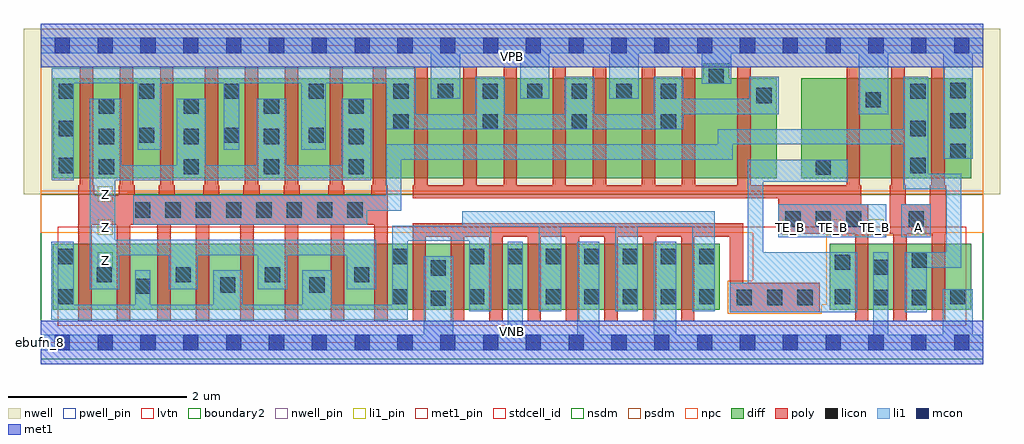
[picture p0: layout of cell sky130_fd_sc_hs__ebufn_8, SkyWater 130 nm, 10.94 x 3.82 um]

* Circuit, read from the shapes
.subckt sky130_fd_sc_hs__ebufn_8 A TE_B VGND VNB VPB VPWR Z
XM1 Z n1 n2 VNB sky130_fd_pr__nfet_01v8_lvt w=0.74 l=0.15 m=8
XM2 VGND n3 n2 VNB sky130_fd_pr__nfet_01v8_lvt w=0.74 l=0.15 m=8
XM3 VGND TE_B n3 VNB sky130_fd_pr__nfet_01v8_lvt w=0.74 l=0.15
XM4 n1 A VGND VNB sky130_fd_pr__nfet_01v8_lvt w=0.74 l=0.15 m=2
XM5 Z n1 n4 VPB sky130_fd_pr__pfet_01v8 w=1.12 l=0.15 m=8
XM6 VPWR TE_B n4 VPB sky130_fd_pr__pfet_01v8 w=1.12 l=0.15 m=8
XM7 VPWR TE_B n3 VPB sky130_fd_pr__pfet_01v8 w=1.12 l=0.15
XM8 n1 A VPWR VPB sky130_fd_pr__pfet_01v8 w=1.12 l=0.15 m=2
.ends

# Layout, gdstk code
import gdstk
lib = gdstk.Library(unit=1e-6, precision=1e-09)
def R(c, l, rs):  # rectangles x0, y0, x1, y1
    for r in rs: c.add(gdstk.rectangle(r[:2], r[2:], *l))
def A(c, l, x, y, w, h, nx, ny, dx, dy):  # array of equal rectangles
    R(c, l, [(x+i*dx, y+j*dy, x+i*dx+w, y+j*dy+h) for i in range(nx) for j in range(ny)])
def P(c, l, *ps):  # polygons
    for p in ps: c.add(gdstk.Polygon(p, *l))
nwell_pin = (64, 16)
nwell = (64, 20)
diff = (65, 20)
poly = (66, 20)
licon = (66, 44)
li1_pin = (67, 16)
li1 = (67, 20)
mcon = (67, 44)
met1_pin = (68, 16)
met1 = (68, 20)
stdcell_id = (81, 4)
nsdm = (93, 44)
psdm = (94, 20)
npc = (95, 20)
pwell_pin = (122, 16)
lvtn = (125, 44)
boundary2 = (236, 0)

sky130_fd_sc_hs__ebufn_8 = lib.new_cell('sky130_fd_sc_hs__ebufn_8')
R(sky130_fd_sc_hs__ebufn_8, nwell_pin, [(0,3.085,10.56,3.33)])
R(sky130_fd_sc_hs__ebufn_8, nwell, [(-0.19,1.66,10.75,3.52)])
R(sky130_fd_sc_hs__ebufn_8, diff, [(0.135,0.37,7.61,1.11), (8.84,0.37,10.425,1.11), (8.52,1.84,10.425,2.96)])
P(sky130_fd_sc_hs__ebufn_8, diff, [(8.25,2.96),(7.715,2.96),(7.715,3.13),(7.425,3.13),(7.425,2.96),(0.14,2.96),(0.14,1.84),(8.25,1.84)])
P(sky130_fd_sc_hs__ebufn_8, poly, [(10.145,1.765),(10.13,1.765),(10.13,3.09),(9.98,3.09),(9.98,1.765),(9.965,1.765),(9.965,1.55),(9.695,1.55),(9.695,1.765),(9.68,1.765),(9.68,3.09),(9.53,3.09),(9.53,1.765),(9.515,1.765),(9.515,1.22),(9.555,1.22),(9.555,0.24),(9.705,0.24),(9.705,1.22),(9.985,1.22),(9.985,0.24),(10.135,0.24),(10.135,1.22),(10.145,1.22)],
  [(9.275,1.55),(9.195,1.55),(9.195,1.765),(9.18,1.765),(9.18,3.09),(9.03,3.09),(9.03,1.765),(7.955,1.765),(7.955,3.09),(7.805,3.09),(7.805,1.765),(7.335,1.765),(7.335,3.09),(7.185,3.09),(7.185,1.765),(6.885,1.765),(6.885,3.09),(6.735,3.09),(6.735,1.765),(6.335,1.765),(6.335,3.09),(6.185,3.09),(6.185,1.765),(5.885,1.765),(5.885,3.09),(5.735,3.09),(5.735,1.765),(5.335,1.765),(5.335,3.09),(5.185,3.09),(5.185,1.765),(4.885,1.765),(4.885,3.09),(4.735,3.09),(4.735,1.765),(4.335,1.765),(4.335,3.09),(4.185,3.09),(4.185,1.765),(4.17,1.765),(4.17,1.615),(8.265,1.615),(8.265,1.22),(9.125,1.22),(9.125,0.24),(9.275,0.24)],
  [(8.73,0.67),(7.87,0.67),(7.87,1.335),(4.165,1.335),(4.165,0.24),(4.315,0.24),(4.315,1.185),(4.595,1.185),(4.595,0.24),(4.745,0.24),(4.745,1.185),(5.025,1.185),(5.025,0.24),(5.175,0.24),(5.175,1.185),(5.455,1.185),(5.455,0.24),(5.605,0.24),(5.605,1.185),(5.885,1.185),(5.885,0.24),(6.035,0.24),(6.035,1.185),(6.315,1.185),(6.315,0.24),(6.465,0.24),(6.465,1.185),(6.745,1.185),(6.745,0.24),(6.895,0.24),(6.895,1.185),(7.175,1.185),(7.175,0.24),(7.325,0.24),(7.325,1.185),(7.72,1.185),(7.72,0.34),(8.73,0.34)],
  [(3.885,1.765),(3.87,1.765),(3.87,3.09),(3.72,3.09),(3.72,1.765),(3.705,1.765),(3.705,1.65),(3.4,1.65),(3.4,1.765),(3.385,1.765),(3.385,3.09),(3.235,3.09),(3.235,1.765),(3.22,1.765),(3.22,1.65),(2.9,1.65),(2.9,1.765),(2.885,1.765),(2.885,3.09),(2.735,3.09),(2.735,1.765),(2.72,1.765),(2.72,1.65),(2.45,1.65),(2.45,1.765),(2.435,1.765),(2.435,3.09),(2.285,3.09),(2.285,1.765),(2.27,1.765),(2.27,1.65),(2,1.65),(2,1.765),(1.985,1.765),(1.985,3.09),(1.835,3.09),(1.835,1.765),(1.82,1.765),(1.82,1.65),(1.5,1.65),(1.5,1.765),(1.485,1.765),(1.485,3.09),(1.335,3.09),(1.335,1.765),(1.32,1.765),(1.32,1.65),(1.05,1.65),(1.05,1.765),(1.035,1.765),(1.035,3.09),(0.885,3.09),(0.885,1.765),(0.87,1.765),(0.87,1.65),(0.6,1.65),(0.6,1.765),(0.585,1.765),(0.585,3.09),(0.435,3.09),(0.435,1.765),(0.42,1.765),(0.42,0.24),(0.57,0.24),(0.57,1.32),(0.85,1.32),(0.85,0.24),(1,0.24),(1,1.32),(1.305,1.32),(1.305,0.24),(1.455,0.24),(1.455,1.32),(1.735,1.32),(1.735,0.24),(1.885,0.24),(1.885,1.32),(2.235,1.32),(2.235,0.24),(2.385,0.24),(2.385,1.32),(2.735,1.32),(2.735,0.24),(2.885,0.24),(2.885,1.32),(3.25,1.32),(3.25,0.24),(3.4,0.24),(3.4,1.32),(3.735,1.32),(3.735,0.24),(3.885,0.24)])
A(sky130_fd_sc_hs__ebufn_8, licon, 7.8, 0.42, 0.17, 0.17, 3, 1, 0.34, 0)
A(sky130_fd_sc_hs__ebufn_8, licon, 4.8, 0.43, 0.17, 0.17, 7, 2, 0.43, 0.45)
A(sky130_fd_sc_hs__ebufn_8, licon, 1.51, 0.675, 0.17, 0.17, 3, 1, 1, 0)
A(sky130_fd_sc_hs__ebufn_8, licon, 8.345, 1.3, 0.17, 0.17, 3, 1, 0.34, 0)
A(sky130_fd_sc_hs__ebufn_8, licon, 1.055, 1.4, 0.17, 0.17, 8, 1, 0.34, 0)
A(sky130_fd_sc_hs__ebufn_8, licon, 0.65, 1.885, 0.17, 0.17, 1, 3, 0, 0.34)
A(sky130_fd_sc_hs__ebufn_8, licon, 1.6, 1.885, 0.17, 0.17, 1, 3, 0, 0.34)
A(sky130_fd_sc_hs__ebufn_8, licon, 2.5, 1.885, 0.17, 0.17, 1, 3, 0, 0.34)
A(sky130_fd_sc_hs__ebufn_8, licon, 3.45, 1.885, 0.17, 0.17, 1, 3, 0, 0.34)
A(sky130_fd_sc_hs__ebufn_8, licon, 0.2, 1.9, 0.17, 0.17, 1, 3, 0, 0.415)
A(sky130_fd_sc_hs__ebufn_8, licon, 9.745, 1.9, 0.17, 0.17, 1, 3, 0, 0.415)
A(sky130_fd_sc_hs__ebufn_8, licon, 10.195, 2.06, 0.17, 0.17, 1, 3, 0, 0.34)
A(sky130_fd_sc_hs__ebufn_8, licon, 1.1, 2.24, 0.17, 0.17, 3, 1, 0.95, 0)
A(sky130_fd_sc_hs__ebufn_8, licon, 3.95, 2.39, 0.17, 0.17, 4, 1, 1, 0)
A(sky130_fd_sc_hs__ebufn_8, licon, 1.1, 2.73, 0.17, 0.17, 4, 1, 0.95, 0)
A(sky130_fd_sc_hs__ebufn_8, licon, 4.45, 2.73, 0.17, 0.17, 6, 1, 0.5, 0)
R(sky130_fd_sc_hs__ebufn_8, licon, [(4.37,0.41,4.54,0.58), (9.33,0.42,9.5,0.59), (9.76,0.42,9.93,0.59), (0.195,0.43,0.365,0.6), (3.94,0.43,4.11,0.6), (8.9,0.43,9.07,0.6), (10.19,0.43,10.36,0.6), (1.055,0.545,1.225,0.715), (2.01,0.56,2.18,0.73), (3.01,0.56,3.18,0.73), (0.625,0.675,0.795,0.845), (4.37,0.75,4.54,0.92), (9.33,0.76,9.5,0.93), (8.9,0.815,9.07,0.985), (9.76,0.84,9.93,1.01), (0.195,0.88,0.365,1.05), (3.94,0.88,4.11,1.05), (9.725,1.3,9.895,1.47), (8.685,1.88,8.855,2.05), (9.245,2.635,9.415,2.805), (8.02,2.685,8.19,2.855), (7.485,2.9,7.655,3.07)])
A(sky130_fd_sc_hs__ebufn_8, li1_pin, 0.635, 0.84, 0.17, 0.17, 1, 3, 0, 0.37)
A(sky130_fd_sc_hs__ebufn_8, li1_pin, 8.315, 1.21, 0.17, 0.17, 4, 1, 0.48, 0)
R(sky130_fd_sc_hs__ebufn_8, li1, [(8.265,1.18,9.475,1.55), (9.645,1.18,9.975,1.55)])
P(sky130_fd_sc_hs__ebufn_8, li1, [(0,-0.085),(0,0.085),(4.29,0.085),(4.29,0.97),(4.62,0.97),(4.62,0.085),(5.23,0.085),(5.23,1.13),(5.4,1.13),(5.4,0.085),(6.01,0.085),(6.01,1.13),(6.26,1.13),(6.26,0.085),(6.87,0.085),(6.87,1.13),(7.12,1.13),(7.12,0.085),(9.33,0.085),(9.33,1.01),(9.5,1.01),(9.5,0.085),(10.11,0.085),(10.11,0.6),(10.445,0.6),(10.445,0.085),(10.56,0.085),(10.56,-0.085)],
  [(0,3.245),(0,3.415),(10.56,3.415),(10.56,3.245),(10.445,3.245),(10.445,2.06),(10.115,2.06),(10.115,3.245),(9.495,3.245),(9.495,2.56),(9.165,2.56),(9.165,3.245),(7.735,3.245),(7.735,2.9),(7.405,2.9),(7.405,3.245),(6.7,3.245),(6.7,2.73),(6.37,2.73),(6.37,3.245),(5.7,3.245),(5.7,2.73),(5.37,2.73),(5.37,3.245),(4.7,3.245),(4.7,2.73),(4.37,2.73),(4.37,3.245)],
  [(7.925,2.05),(9.045,2.05),(9.045,1.8),(8.095,1.8),(8.095,1.01),(9.15,1.01),(9.15,0.34),(7.72,0.34),(7.72,0.67),(7.925,0.67)],
  [(10.315,0.84),(9.93,0.84),(9.93,0.34),(9.68,0.34),(9.68,1.01),(10.145,1.01),(10.145,1.72),(9.665,1.72),(9.665,2.22),(7.755,2.22),(7.755,2.05),(4.04,2.05),(4.04,1.48),(3.655,1.48),(3.655,1.32),(1.035,1.32),(1.035,1.65),(3.87,1.65),(3.87,2.22),(7.585,2.22),(7.585,2.39),(9.665,2.39),(9.665,2.98),(9.945,2.98),(9.945,1.89),(10.315,1.89)],
  [(6.2,2.56),(6.87,2.56),(6.87,2.98),(7.2,2.98),(7.2,2.73),(7.94,2.73),(7.94,2.98),(8.27,2.98),(8.27,2.56),(7.2,2.56),(7.2,2.39),(3.87,2.39),(3.87,2.905),(3.19,2.905),(3.19,2.16),(2.92,2.16),(2.92,2.905),(2.22,2.905),(2.22,2.16),(2.05,2.16),(2.05,2.905),(1.35,2.905),(1.35,2.16),(1.085,2.16),(1.085,2.905),(0.37,2.905),(0.37,1.82),(0.12,1.82),(0.12,3.075),(4.2,3.075),(4.2,2.56),(4.87,2.56),(4.87,2.98),(5.2,2.98),(5.2,2.56),(5.87,2.56),(5.87,2.98),(6.2,2.98)],
  [(0.835,1.15),(3.76,1.15),(3.76,0.595),(3.43,0.595),(3.43,0.98),(2.76,0.98),(2.76,0.595),(2.43,0.595),(2.43,0.98),(1.76,0.98),(1.76,0.595),(1.43,0.595),(1.43,0.98),(0.875,0.98),(0.875,0.595),(0.545,0.595),(0.545,2.735),(0.9,2.735),(0.9,1.99),(1.52,1.99),(1.52,2.735),(1.85,2.735),(1.85,1.99),(2.42,1.99),(2.42,2.735),(2.75,2.735),(2.75,1.99),(3.37,1.99),(3.37,2.735),(3.7,2.735),(3.7,1.82),(0.835,1.82)],
  [(0.365,0.425),(1.055,0.425),(1.055,0.81),(1.225,0.81),(1.225,0.425),(1.93,0.425),(1.93,0.81),(2.26,0.81),(2.26,0.425),(2.93,0.425),(2.93,0.81),(3.26,0.81),(3.26,0.425),(3.94,0.425),(3.94,1.31),(4.72,1.31),(4.72,1.47),(7.55,1.47),(7.55,0.35),(7.3,0.35),(7.3,1.3),(6.69,1.3),(6.69,0.35),(6.44,0.35),(6.44,1.3),(5.83,1.3),(5.83,0.35),(5.58,0.35),(5.58,1.3),(5.05,1.3),(5.05,0.35),(4.8,0.35),(4.8,1.14),(4.11,1.14),(4.11,0.255),(0.115,0.255),(0.115,1.13),(0.365,1.13)])
A(sky130_fd_sc_hs__ebufn_8, mcon, 0.155, -0.085, 0.17, 0.17, 22, 2, 0.48, 3.33)
R(sky130_fd_sc_hs__ebufn_8, met1_pin, [(0,0,10.56,0.245), (0,3.085,10.56,3.33)])
R(sky130_fd_sc_hs__ebufn_8, met1, [(0,-0.245,10.56,0.245), (0,3.085,10.56,3.575)])
R(sky130_fd_sc_hs__ebufn_8, stdcell_id, [(0,0,10.56,3.33)])
R(sky130_fd_sc_hs__ebufn_8, nsdm, [(0,-0.19,10.56,1.66)])
P(sky130_fd_sc_hs__ebufn_8, psdm, [(10.56,3.52),(0,3.52),(0,1.66),(0.965,1.66),(0.965,1.68),(3.745,1.68),(3.745,1.66),(10.56,1.66)])
P(sky130_fd_sc_hs__ebufn_8, npc, [(10.56,1.7),(0,1.7),(0,1.23),(7.98,1.23),(7.98,0.69),(7.7,0.69),(7.7,0.32),(8.75,0.32),(8.75,0.425),(8.81,0.425),(8.81,1.2),(9.995,1.2),(9.995,1.23),(10.56,1.23)])
R(sky130_fd_sc_hs__ebufn_8, pwell_pin, [(0,0,10.56,0.245)])
R(sky130_fd_sc_hs__ebufn_8, lvtn, [(0.19,0.19,10.37,1.3)])
R(sky130_fd_sc_hs__ebufn_8, boundary2, [(0,0,10.56,3.33)])
sky130_fd_sc_hs__ebufn_8.add(gdstk.Label('ebufn_8', (0,0), layer=83, texttype=44))
sky130_fd_sc_hs__ebufn_8.add(gdstk.Label('VNB', (5.28,0.123), layer=64, texttype=59))
sky130_fd_sc_hs__ebufn_8.add(gdstk.Label('VPB', (5.28,3.208), layer=64, texttype=5))
sky130_fd_sc_hs__ebufn_8.add(gdstk.Label('VPWR', (5.28,3.208), layer=68, texttype=5))
sky130_fd_sc_hs__ebufn_8.add(gdstk.Label('VGND', (5.28,0.123), layer=68, texttype=5))
sky130_fd_sc_hs__ebufn_8.add(gdstk.Label('TE_B', (8.4,1.295), layer=67, texttype=5))
sky130_fd_sc_hs__ebufn_8.add(gdstk.Label('TE_B', (8.88,1.295), layer=67, texttype=5))
sky130_fd_sc_hs__ebufn_8.add(gdstk.Label('TE_B', (9.36,1.295), layer=67, texttype=5))
sky130_fd_sc_hs__ebufn_8.add(gdstk.Label('A', (9.84,1.295), layer=67, texttype=5))
sky130_fd_sc_hs__ebufn_8.add(gdstk.Label('Z', (0.72,0.925), layer=67, texttype=5))
sky130_fd_sc_hs__ebufn_8.add(gdstk.Label('Z', (0.72,1.295), layer=67, texttype=5))
sky130_fd_sc_hs__ebufn_8.add(gdstk.Label('Z', (0.72,1.665), layer=67, texttype=5))

lib.write_gds('sky130_fd_sc_hs__ebufn_8.gds')
